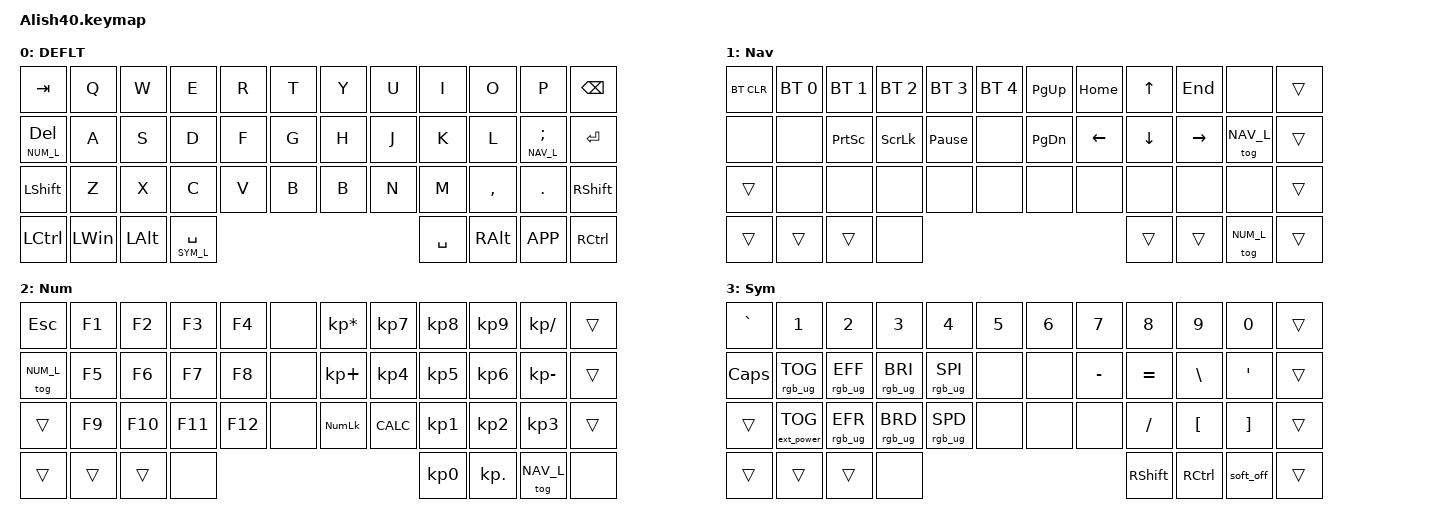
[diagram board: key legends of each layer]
#include <behaviors.dtsi>
#include <dt-bindings/zmk/keys.h>
#include <dt-bindings/zmk/bt.h>
#include <dt-bindings/zmk/rgb.h>
#include <dt-bindings/zmk/ext_power.h>

#define NAV_L 1
#define NUM_L 2
#define SYM_L 3

&soft_off {
    hold-time-ms = <2000>; // Only turn off it the key is held for 2 seconds or longer.
};


/ {

    chosen {
        zmk,physical-layout = &layout_alice_40_all;
    };

    combos {
        compatible = "zmk,combos";
        combo_esc {
            timeout-ms = <50>;
            key-positions = <0 1>;
            bindings = <&kp ESC>;
        };
    };

    keymap {
        compatible = "zmk,keymap";

        default_layer {
            label = "DEFLT";
            bindings = <
                &kp TAB        &kp Q   &kp W    &kp E   &kp R   &kp T           &kp Y   &kp U   &kp I       &kp O        &kp P              &kp BACKSPACE
                &lt NUM_L DEL  &kp A   &kp S    &kp D   &kp F   &kp G           &kp H   &kp J   &kp K       &kp L        &lt NAV_L SEMI     &kp RETURN
                &kp LSHIFT     &kp Z   &kp X    &kp C   &kp V   &kp B   &kp B   &kp N   &kp M   &kp COMMA   &kp PERIOD                      &kp RSHFT
                &kp LCTRL      &kp LWIN         &kp LALT     &lt SYM_L SPACE    &kp SPACE   &kp RALT                     &kp K_APP          &kp RCTRL
            >;
        };

        nav_layer {
            label = "Nav";
            bindings = <
                &bt BT_CLR  &bt BT_SEL 0  &bt BT_SEL 1  &bt BT_SEL 2  &bt BT_SEL 3     &bt BT_SEL 4     &kp PG_UP   &kp HOME  &kp UP    &kp END    &none       &trans
                &none       &none         &kp PSCRN     &kp SLCK      &kp PAUSE_BREAK  &none            &kp PG_DN   &kp LEFT  &kp DOWN  &kp RIGHT  &tog NAV_L  &trans
                &trans      &none         &none         &none         &none            &none    &none   &none       &none     &none     &none             &trans
                &trans      &trans                &trans          &none                        &trans    &trans                         &tog NUM_L      &trans   
            >;
        };

        num_layer {
            label = "Num";
            bindings = <
                &kp ESC     &kp F1  &kp F2   &kp F3   &kp F4   &none                &kp KP_MULTIPLY  &kp KP_N7  &kp KP_N8  &kp KP_N9  &kp KP_DIVIDE  &trans
                &tog NUM_L  &kp F5  &kp F6   &kp F7   &kp F8   &none                &kp KP_PLUS      &kp KP_N4  &kp KP_N5  &kp KP_N6  &kp KP_MINUS   &trans
                &trans      &kp F9  &kp F10  &kp F11  &kp F12  &none    &kp KP_NUM  &kp K_CALC       &kp KP_N1  &kp KP_N2  &kp KP_N3                 &trans
                &trans      &trans           &trans         &none            &kp KP_N0   &kp KP_DOT                            &tog NAV_L          &none    
            >;
        };

        sym_layer {
            label = "Sym";
            bindings = <
                &kp GRAVE  &kp N1            &kp N2           &kp N3           &kp N4            &kp N5        &kp N6     &kp N7     &kp N8     &kp N9    &kp N0    &trans
                &kp CAPS   &rgb_ug RGB_TOG   &rgb_ug RGB_EFF  &rgb_ug RGB_BRI  &rgb_ug RGB_SPI   &none         &none      &kp MINUS  &kp EQUAL  &kp BSLH  &kp APOS  &trans
                &trans     &ext_power EP_TOG &rgb_ug RGB_EFR  &rgb_ug RGB_BRD  &rgb_ug RGB_SPD   &none  &none  &none      &kp FSLH   &kp LBKT   &kp RBKT            &trans
                &trans     &trans                             &trans                &none                      &kp RSHFT  &kp RCTRL               &soft_off         &trans   
            >;
        };

        extra1 {
            status = "reserved";
        };

        extra2 {
            status = "reserved";
        };
    };
};

&led_strip {
    chain-length = <10>;
};
